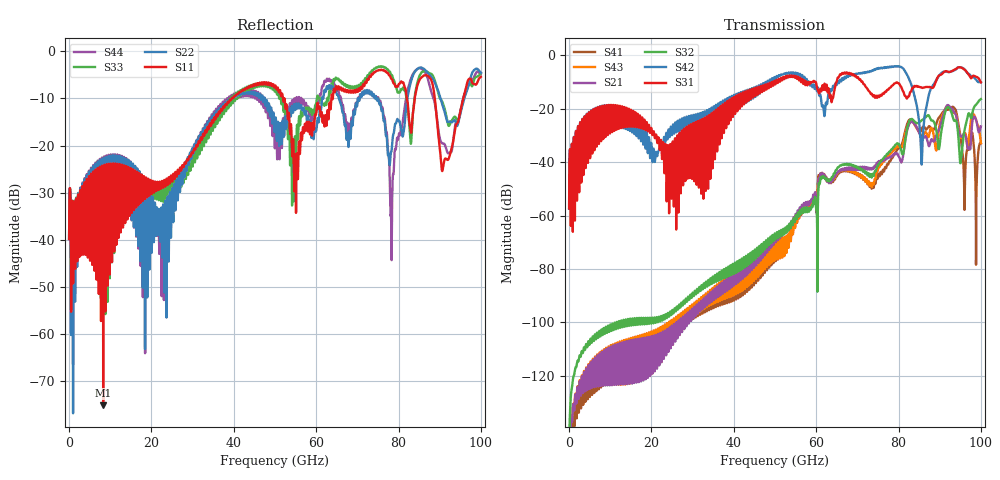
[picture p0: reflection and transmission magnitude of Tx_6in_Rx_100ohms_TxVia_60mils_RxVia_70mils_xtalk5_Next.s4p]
! Info: Touchstone file created by Circ.  Input file=Tx_6in_Rx_100ohms_TxVia_60mils_RxVia_70mils.circ
# Hz S RI R 50
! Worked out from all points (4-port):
!   10000 points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, 10 MHz to 100 GHz, reference 50 ohm
!   strongest paths, dB at 10 MHz, 25.01 GHz, 50.01 GHz, 75.01 GHz, 100 GHz:
!     S31: -57.3, -36.0, -10.4, -15.1, -10.1
!     S42: -57.3, -29.8, -8.7, -5.0, -10.0
!     S32: -156.6, -95.7, -67.0, -41.2, -16.4
!     S21: -167.3, -101.7, -68.7, -40.4, -26.6
!     S43: -158.1, -100.0, -69.8, -42.6, -32.9
!     S41: -158.3, -99.7, -72.9, -45.2, -33.0
!   lowest |S11| = -75.2 dB at 8.28 GHz (marker M1), VSWR 1.00, Z = 50 - j0.0154 ohm
!   |S11| at or under -10 dB: start of sweep to 39.52 GHz; 52.31 GHz to 63.66 GHz (11.35 GHz wide, 19.6 % of centre); 88.82 GHz to 95.74 GHz (6.92 GHz wide, 7.5 % of centre) (the widest 3 of 6)
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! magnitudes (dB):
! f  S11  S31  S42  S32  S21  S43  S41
! 10 MHz  -39.8  -57.3  -57.3  -156.6  -167.3  -158.1  -158.3
! 8.28 GHz  -75.2  -29.2  -26.9  -103.2  -119.0  -118.1  -123.7
! 45.62 GHz  -6.9  -13.3  -12.7  -72.4  -75.3  -75.2  -77.7
! 62.91 GHz  -13.8  -12.9  -14.9  -46.6  -46.6  -47.0  -46.6
! 78.33 GHz  -5.9  -11.4  -4.2  -35.3  -37.8  -36.4  -38.5
! 85.59 GHz  -5.5  -12.1  -40.4  -24.4  -31.0  -30.2  -27.8
! 100 GHz  -5.4  -10.1  -10.0  -16.4  -26.6  -32.9  -33.0
